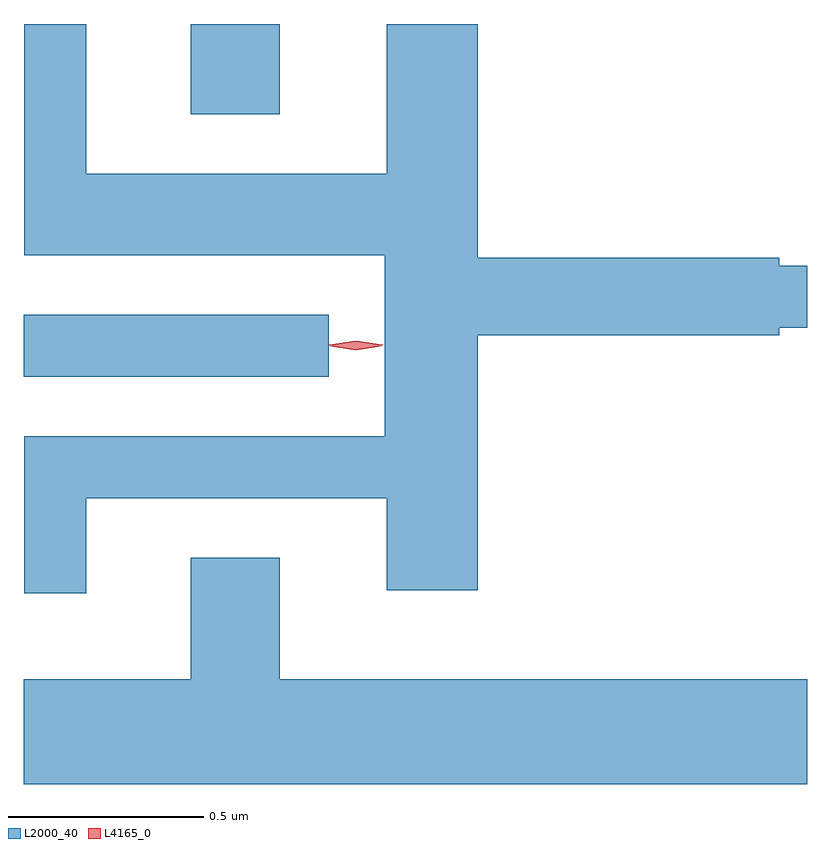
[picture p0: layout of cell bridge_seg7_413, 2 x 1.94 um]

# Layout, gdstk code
import gdstk
lib = gdstk.Library(unit=1e-6, precision=1e-09)
def R(c, l, rs):  # rectangles x0, y0, x1, y1
    for r in rs: c.add(gdstk.rectangle(r[:2], r[2:], *l))
def P(c, l, *ps):  # polygons
    for p in ps: c.add(gdstk.Polygon(p, *l))
L2000_40 = (2000, 40)
L4165_0 = (4165, 0)

bridge_seg7_413 = lib.new_cell('bridge_seg7_413')
R(bridge_seg7_413, L2000_40, [(1060.155,1793.056,1060.933,1793.214), (1060.581,1793.726,1060.809,1793.956)])
P(bridge_seg7_413, L2000_40, [(1060.314,1792.746),(1061.081,1792.746),(1061.081,1792.511),(1061.314,1792.511),(1061.314,1793.161),(1062.084,1793.161),(1062.084,1793.181),(1062.155,1793.181),(1062.155,1793.339),(1062.084,1793.339),(1062.084,1793.359),(1061.314,1793.359),(1061.314,1793.956),(1061.081,1793.956),(1061.081,1793.574),(1060.314,1793.574),(1060.314,1793.956),(1060.156,1793.956),(1060.156,1793.366),(1061.076,1793.366),(1061.076,1792.904),(1060.156,1792.904),(1060.156,1792.503),(1060.314,1792.503)],
  [(1062.155,1792.284),(1060.809,1792.284),(1060.809,1792.594),(1060.581,1792.594),(1060.581,1792.284),(1060.155,1792.284),(1060.155,1792.016),(1062.155,1792.016)])
P(bridge_seg7_413, L4165_0, [(1061.003,1793.123),(1060.938,1793.133),(1060.937,1793.133),(1060.938,1793.134),(1061.003,1793.143),(1061.068,1793.134),(1061.068,1793.133),(1061.068,1793.133)],
  [(1061.004,1793.127),(1060.934,1793.136),(1060.934,1793.136),(1060.934,1793.137),(1061.004,1793.147),(1061.072,1793.137),(1061.073,1793.137),(1061.072,1793.136)])

lib.write_gds('bridge_seg7_413.gds')
